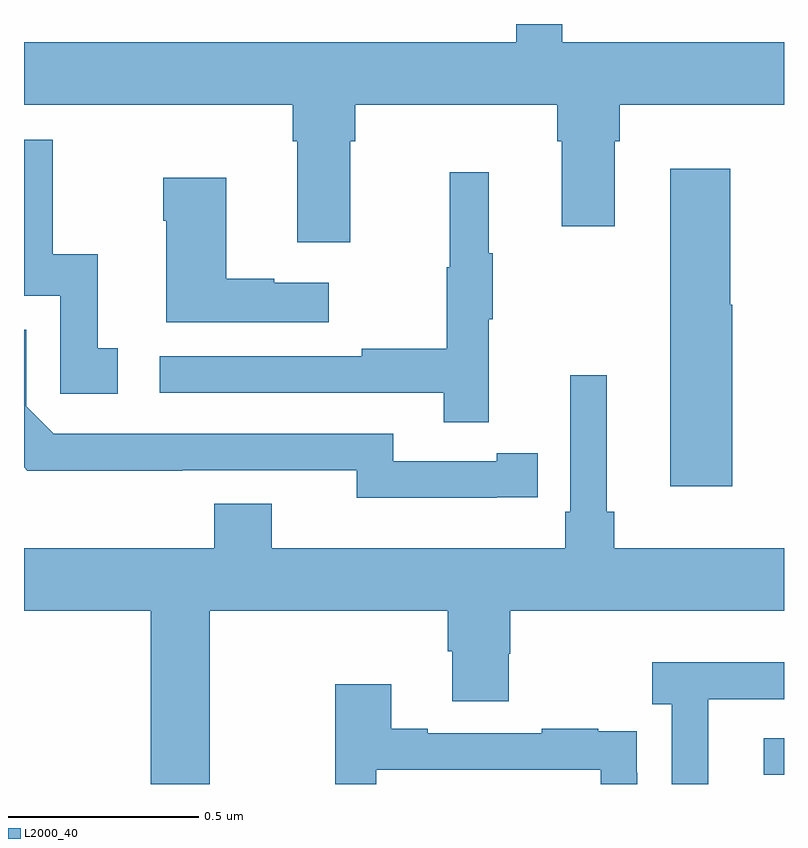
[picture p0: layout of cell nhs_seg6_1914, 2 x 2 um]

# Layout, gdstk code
import gdstk
lib = gdstk.Library(unit=1e-6, precision=1e-09)
def R(c, l, rs):  # rectangles x0, y0, x1, y1
    for r in rs: c.add(gdstk.rectangle(r[:2], r[2:], *l))
def P(c, l, *ps):  # polygons
    for p in ps: c.add(gdstk.Polygon(p, *l))
L2000_40 = (2000, 40)

nhs_seg6_1914 = lib.new_cell('nhs_seg6_1914')
R(nhs_seg6_1914, L2000_40, [(136.947,993.525,137,993.621)])
P(nhs_seg6_1914, L2000_40, [(135.859,995.192),(135.872,995.192),(135.872,995.288),(136.403,995.288),(136.403,995.192),(136.415,995.192),(136.415,994.968),(136.555,994.968),(136.555,995.192),(136.568,995.192),(136.568,995.288),(137,995.288),(137,995.452),(136.417,995.452),(136.417,995.5),(136.296,995.5),(136.296,995.452),(135,995.452),(135,995.288),(135.707,995.288),(135.707,995.192),(135.719,995.192),(135.719,994.926),(135.859,994.926)],
  [(135.247,994.647),(135.194,994.647),(135.194,994.894),(135.076,994.894),(135.076,995.196),(135,995.196),(135,994.785),(135.096,994.785),(135.096,994.527),(135.247,994.527)],
  [(136.864,994.761),(136.859,994.761),(136.859,995.119),(136.7,995.119),(136.7,994.284),(136.864,994.284)],
  [(136.223,994.723),(136.234,994.723),(136.234,994.897),(136.223,994.897),(136.223,995.11),(136.12,995.11),(136.12,994.86),(136.113,994.86),(136.113,994.646),(135.889,994.646),(135.889,994.626),(135.357,994.626),(135.357,994.53),(136.105,994.53),(136.105,994.452),(136.223,994.452)],
  [(135.802,994.819),(135.659,994.819),(135.659,994.829),(135.532,994.829),(135.532,995.095),(135.367,995.095),(135.367,994.982),(135.374,994.982),(135.374,994.715),(135.802,994.715)],
  [(136.244,994.254),(136.352,994.254),(136.352,994.37),(136.244,994.37),(136.244,994.35),(135.972,994.35),(135.972,994.422),(135.078,994.422),(135.006,994.494),(135.006,994.695),(135,994.695),(135,994.333),(135.008,994.325),(135.416,994.325),(135.416,994.326),(135.876,994.326),(135.876,994.253),(136.244,994.253)],
  [(137,994.12),(136.553,994.12),(136.553,994.216),(136.534,994.216),(136.534,994.576),(136.437,994.576),(136.437,994.216),(136.424,994.216),(136.424,994.12),(135.652,994.12),(135.652,994.237),(135.5,994.237),(135.5,994.12),(135,994.12),(135,993.956),(135.334,993.956),(135.334,993.5),(135.489,993.5),(135.489,993.956),(136.115,993.956),(136.115,993.85),(136.127,993.85),(136.127,993.718),(136.275,993.718),(136.275,993.843),(136.28,993.843),(136.28,993.956),(137,993.956)],
  [(136.8,993.723),(137,993.723),(137,993.82),(136.653,993.82),(136.653,993.71),(136.704,993.71),(136.704,993.5),(136.8,993.5)],
  [(135.927,993.537),(136.518,993.537),(136.518,993.5),(136.614,993.5),(136.614,993.53),(136.613,993.53),(136.613,993.639),(136.511,993.639),(136.511,993.646),(136.363,993.646),(136.363,993.633),(136.063,993.633),(136.063,993.646),(135.967,993.646),(135.967,993.763),(135.819,993.763),(135.819,993.5),(135.927,993.5)])

lib.write_gds('nhs_seg6_1914.gds')
